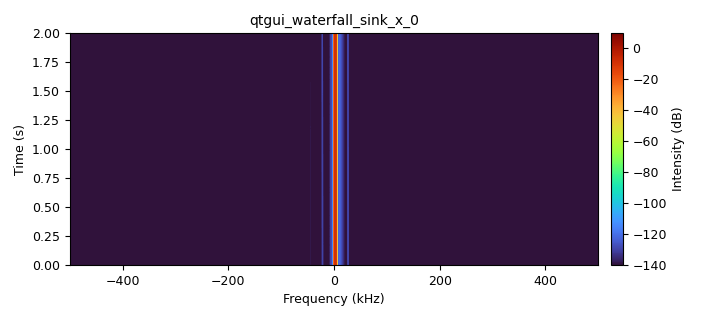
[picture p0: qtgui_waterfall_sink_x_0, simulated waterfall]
options:
  parameters:
    author: Craig Pomeroy
    copyright: Copyright (c) Microsoft Corporation
    description: Azure Blob Sink example that uses the DefaultAzureCredential for authentication
    generate_options: qt_gui
    id: blob_sink_example
    output_language: python
    title: Simple Blob Sink Example
  states: {}

blocks:
- name: blob_block_length
  id: variable
  parameters:
    value: int(10e6)
  states: {}
- name: blob_container_name
  id: variable
  parameters:
    value: '''blob-example'''
  states: {}
- name: blob_name
  id: variable
  parameters:
    value: '''test-signal.dat'''
  states: {}
- name: blob_url
  id: variable
  parameters:
    value: '''https://<changeme-blob-storage-account-name>.blob.core.windows.net'''
  states: {}
- name: samp_rate
  id: variable
  parameters:
    value: 1e6
  states: {}
- name: analog_sig_source_x_0
  id: analog_sig_source_x
  parameters:
    amp: '1'
    freq: '1000'
    offset: '0'
    phase: '0'
    samp_rate: samp_rate
    type: complex
    waveform: analog.GR_COS_WAVE
  states: {}
- name: azure_software_radio_blob_sink_0
  id: azure_software_radio_blob_sink
  parameters:
    authentication_method: default
    blob_name: blob_name
    block_len: blob_block_length
    connection_str: ''
    container_name: blob_container_name
    retry_total: '10'
    url: blob_url
  states: {}
- name: blocks_throttle_0
  id: blocks_throttle
  parameters:
    samples_per_second: samp_rate
    type: complex
  states: {}
- name: qtgui_waterfall_sink_x_0
  id: qtgui_waterfall_sink_x
  parameters:
    bw: samp_rate
    fc: '0'
    fftsize: '1024'
    type: complex
  states: {}

connections:
- [analog_sig_source_x_0, '0', blocks_throttle_0, '0']
- [blocks_throttle_0, '0', azure_software_radio_blob_sink_0, '0']
- [blocks_throttle_0, '0', qtgui_waterfall_sink_x_0, '0']

metadata:
  file_format: 1
